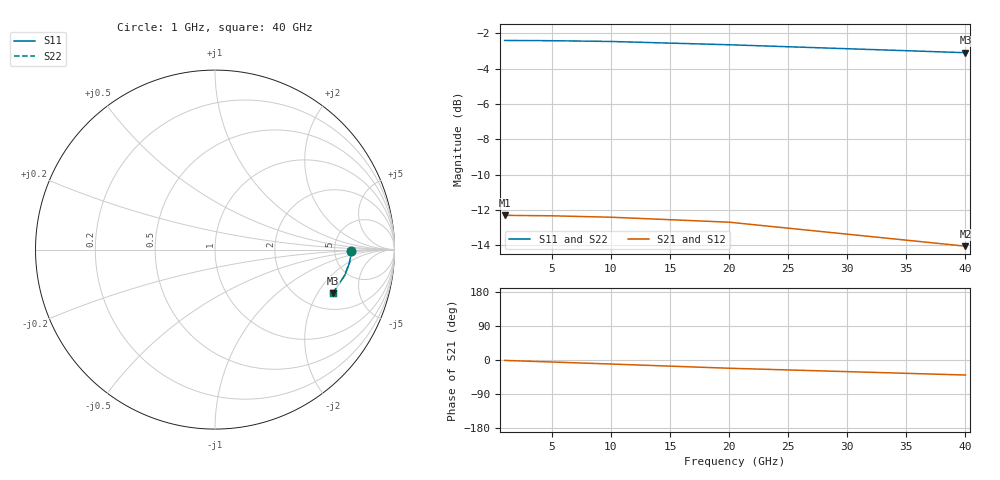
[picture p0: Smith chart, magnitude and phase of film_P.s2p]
! EM-TFR film section of run P: p_dut.s2p de-embedded by half of p_thru.s2p (README)
# GHz S RI R 50
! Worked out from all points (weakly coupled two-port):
!   5 points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, 1 GHz to 40 GHz, reference 50 ohm
!   highest |S21| = -12.31 dB at 1 GHz (marker M1); lowest = -14.1 dB at 40 GHz (marker M2)
!   lowest |S11| = -3.1 dB at 40 GHz (marker M3), VSWR 5.66, Z = 144 - j137 ohm
!   |S11| at or under -10 dB: nowhere
!   |S22| runs from -3.1 to -2.4 dB; largest |S21 - S12| = 4.7e-09
1  0.7575 -0.0076  0.2423 -0.00446  0.2423 -0.00446  0.7575 -0.0076
5  0.7554 -0.0379  0.2406 -0.0222  0.2406 -0.0222  0.7554 -0.0379
10  0.7488 -0.0751  0.2353 -0.0442  0.2353 -0.0442  0.7488 -0.0752
20  0.7224 -0.1442  0.2153 -0.0859  0.2153 -0.0859  0.7224 -0.1442
40  0.6559 -0.2431  0.1526 -0.1265  0.1526 -0.1265  0.6559 -0.2431
